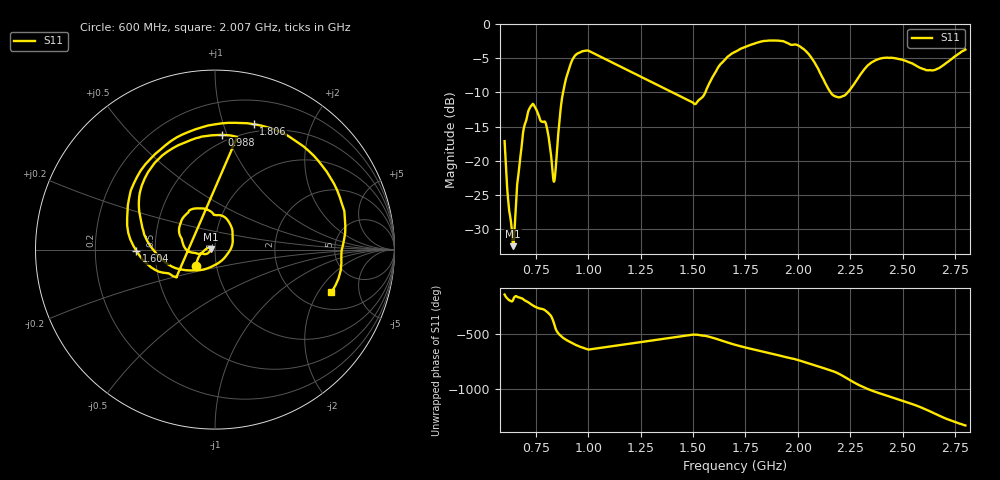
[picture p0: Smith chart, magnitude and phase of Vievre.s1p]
!File created by NanoVNA
# Hz S RI R 50
!LO
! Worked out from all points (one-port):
!   402 points, 600 MHz to 2.8 GHz, reference 50 ohm
!   lowest |S11| = -32.5 dB at 640 MHz (marker M1), VSWR 1.05, Z = 47.7 + j0.375 ohm
!   |S11| at or under -10 dB: start of sweep to 879.2 MHz; 1.401 GHz to 1.558 GHz (156.9 MHz wide, 10.6 % of centre); 2.157 GHz to 2.238 GHz (81.7 MHz wide, 3.72 % of centre)
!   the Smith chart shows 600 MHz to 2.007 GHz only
!   S11 on the Smith chart (normalised r, x): 600 MHz: 0.80, -0.15; 988 MHz: 0.44, +0.96; 1.604 GHz: 0.39, -0.01; 1.806 GHz: 0.42, +1.27; 2.007 GHz: 2.91, -2.65
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6e8  -0.1039 -0.0923
6.4e8  -0.0233 0.00392
6.86e8  -0.1499 -0.00861
7.14e8  -0.2 0.1188
7.96e8  0.054 0.1808
8.36e8  0.0505 -0.0486
8.76e8  -0.2925 -0.0576
9.2e8  -0.4138 0.3364
9.88e8  0.0404 0.6394
9.96e8  0.0968 0.634
1e9  0.1236 0.6272
1.5e9  -0.2158 -0.1554
1.513e9  -0.2127 -0.1505
1.604e9  -0.4374 -0.00809
1.7015e9  -0.3331 0.5329
1.8055e9  0.2154 0.6987
1.903e9  0.6632 0.3671
1.981e9  0.7041 -0.0738
2.007e9  0.649 -0.2377
2.098e9  0.1205 -0.452
2.254e9  -0.3054 0.1464
2.3125e9  -0.0514 0.4543
2.358e9  0.2566 0.4643
2.4425e9  0.5633 0.0713
2.527e9  0.37 -0.3773
2.605e9  -0.103 -0.4552
2.683e9  -0.4804 -0.0739
2.8e9  -0.1802 0.6257
